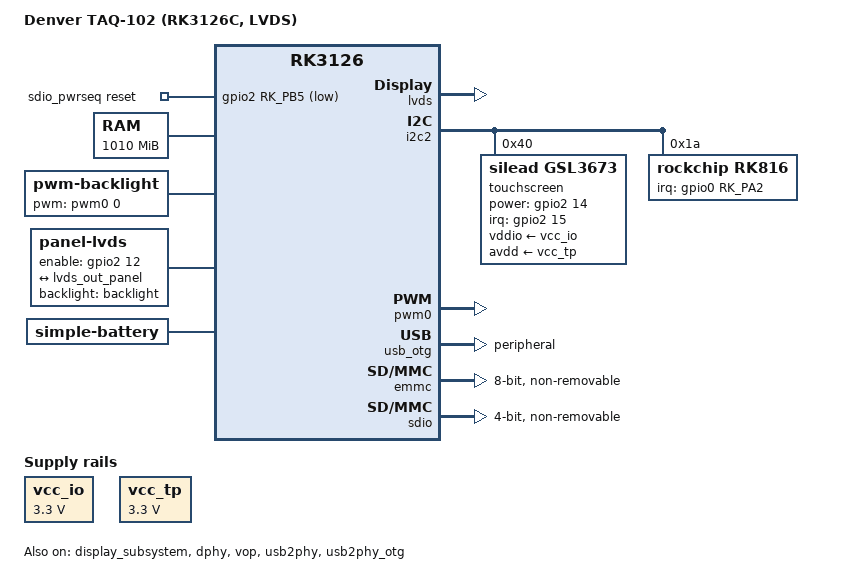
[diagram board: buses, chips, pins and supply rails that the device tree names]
// SPDX-License-Identifier: (GPL-2.0+ OR MIT)
/*
 * Denver TAQ-102 on mainline: RK3126C, 1 GB, LVDS 1024x600, GSL3673 touch.
 *
 * The vendor 4.4 board file is kernel/rk3126-taq102.dts and the tree the
 * tablet actually shipped with is kernel/rk3126-taq102-hybrid.dts. Every
 * number below was taken from one of those two, not from a sibling board:
 * the panel timing is the one modetest reports on the hardware, 1024x600 at
 * 56.14 Hz, and the backlight is the vendor's pwm0 at 25 us.
 *
 * rk3128.dtsi is the right base even though this is an RK3126C: its VOP is
 * already "rockchip,rk3126-vop" upstream. The LVDS node it gains here needs
 * the two patches in this directory.
 */

/dts-v1/;

#include <dt-bindings/gpio/gpio.h>
#include <dt-bindings/input/input.h>
#include <dt-bindings/interrupt-controller/irq.h>
#include "rk3128.dtsi"

/ {
	model = "Denver TAQ-102 (RK3126C, LVDS)";
	compatible = "rockchip,rk3126-taq102", "rockchip,rk3126";

	/*
	 * A crash log that survives the reboot, because this board has no console
	 * a failed boot can reach: no serial pads, and the USB gadget is raised by
	 * userspace the kernel never gets to. Deliberately NOT 0x68000000, which the vendor tree also uses for
	 * ramoops: the vendor kernel rewrites that region with its own boot log,
	 * which destroyed the first capture. 0x68100000 is above it and still
	 * inside the first bank, which ends at 0x68400000.
	 */
	reserved-memory {
		#address-cells = <1>;
		#size-cells = <1>;
		ranges;

		ramoops@68100000 {
			compatible = "ramoops";
			reg = <0x68100000 0xf0000>;
			record-size = <0x20000>;
			console-size = <0x80000>;
			pmsg-size = <0x50000>;
		};
	};

	aliases {
		mmc0 = &sdmmc;
		mmc1 = &emmc;
		mmc2 = &sdio;
	};

	/*
	 * The RTL8723CS needs its 32 kHz clock and its reset released before
	 * the SDIO function can be probed at all. Values from the tablet own
	 * stock tree: the clock is the PMIC clkout2, the reset is GPIO2_B5.
	 */
	sdio_pwrseq: sdio-pwrseq {
		compatible = "mmc-pwrseq-simple";
		clocks = <&rk816 1>;
		clock-names = "ext_clock";
		reset-gpios = <&gpio2 RK_PB5 GPIO_ACTIVE_LOW>;
	};

	/*
	 * Two banks with a 14 MB hole between them, not one contiguous gigabyte.
	 * Read off the running vendor kernel on this tablet: /proc/iomem shows
	 * 60000000-683fffff and 69200000-9fffffff, and its own device tree says
	 * reg = <0x60000000 0x08400000>, <0x69200000 0x36e00000>. Declaring the
	 * hole as memory kills the kernel during memblock init, long before any
	 * console exists, which is exactly the silent black boot this cost.
	 */
	memory@60000000 {
		device_type = "memory";
		reg = <0x60000000 0x08400000>,
		      <0x69200000 0x36e00000>;
	};

	/*
	 * The touch controller's two rails. Nothing on this board switches
	 * them: they are up before the kernel starts, the vendor node
	 * describes no supply at all, and the RK816 that really feeds them
	 * has no node in this file yet. They exist because silead.c takes
	 * both with a plain devm_regulator_bulk_get() and refuses to probe
	 * without them. Replace them with the real RK816 outputs when a PMIC
	 * node lands here.
	 */
	vcc_io: regulator-vcc-io {
		compatible = "regulator-fixed";
		regulator-name = "vcc_io";
		regulator-min-microvolt = <3300000>;
		regulator-max-microvolt = <3300000>;
		regulator-always-on;
		regulator-boot-on;
	};

	vcc_tp: regulator-vcc-tp {
		compatible = "regulator-fixed";
		regulator-name = "vcc_tp";
		regulator-min-microvolt = <3300000>;
		regulator-max-microvolt = <3300000>;
		regulator-always-on;
		regulator-boot-on;
	};

	backlight: backlight {
		compatible = "pwm-backlight";
		pwms = <&pwm0 0 25000 0>;
		brightness-levels = <0 255>;
		num-interpolated-steps = <255>;
		default-brightness-level = <128>;
	};

	panel: panel {
		compatible = "panel-lvds";
		backlight = <&backlight>;
		enable-gpios = <&gpio2 12 GPIO_ACTIVE_HIGH>;
		data-mapping = "jeida-24";
		width-mm = <125>;
		height-mm = <223>;

		panel-timing {
			clock-frequency = <51200000>;
			hactive = <1024>;
			vactive = <600>;
			hback-porch = <160>;
			hfront-porch = <160>;
			hsync-len = <70>;
			vback-porch = <23>;
			vfront-porch = <12>;
			vsync-len = <10>;
			hsync-active = <0>;
			vsync-active = <0>;
			de-active = <0>;
			pixelclk-active = <0>;
		};

		port {
			panel_in_lvds: endpoint {
				remote-endpoint = <&lvds_out_panel>;
			};
		};
	};
};

&display_subsystem {
	status = "okay";
};

&dphy {
	status = "okay";
};

&lvds {
	status = "okay";
};

&lvds_out {
	lvds_out_panel: endpoint {
		remote-endpoint = <&panel_in_lvds>;
	};
};

/*
 * GSL3673 capacitive touch, 0x40 on i2c2.
 *
 * i2c2, not i2c0: in the device tree the tablet actually runs
 * (kernel/rk3126-taq102-hybrid.dts, decompiled from the live DTB) ts@40 is a
 * child of i2c@2005a000, beside the RK816 at 0x1a and the accelerometer at
 * 0x18, and i2c@20072000 is enabled with no children at all. rk3128.dtsi
 * labels 0x2005a000 as i2c2, and so does the vendor rk312x.dtsi. The
 * hand-written kernel/rk3126-taq102.dts in this repository puts the node
 * under &i2c0; that file is a reconstruction and it is wrong on this point.
 *
 * No clock-frequency: the live node has none either, so the bus runs at the
 * 100 kHz default i2c_parse_fw_timings() supplies. The 400 kHz in the sibling
 * board's rk3126-bnd-d708.dtsi belongs to a different bus on a different
 * board. At 100 kHz the firmware upload -- 4719 single-word SMBus writes
 * where the vendor batched 32 words per transfer -- costs a few seconds once,
 * at probe.
 *
 *  - interrupts is EDGE_RISING, not the LEVEL_LOW the vendor node prints.
 *    gsl3673_init() reads irq_gpio_number only for the GPIO number and throws
 *    the flags away; probe then calls devm_request_irq() with
 *    IRQF_TRIGGER_RISING. Rising is the trigger this hardware was proved on.
 *
 *  - power-gpios is the vendor's rst_gpio_number, gpio2 14 active high.
 *    silead.c has no separate reset: silead_ts_set_power() drives this pin
 *    low to stop the chip and high to run it, then sleeps 20 ms, which is
 *    exactly gsl3673_shutdown_low()/_high() and their msleep(20).
 *
 *  - firmware-name resolves to /lib/firmware/silead/gsl3673.fw, produced by
 *    kernel/mainline/taq102-gsl3673-firmware.py from the GSL3673_FW array of
 *    the vendor header after kernel/patches/0005-* has replaced it with the
 *    tablet's own stock blob. The array the vendor tree ships untouched is
 *    another panel's.
 *
 *  - touchscreen-size-x/y are unmeasured. They are the resolution word of the
 *    stock configuration array, 0x02580400 = 600 << 16 | 1024, and the
 *    screen_max_x/y of the reconstructed vendor node. The vendor driver's own
 *    ABS range is no evidence: with CONFIG_TOUCHSCREEN_GSL3673 no TP_SIZE_*
 *    macro is defined, so it falls through to 2048x1536.
 */
&i2c2 {
	status = "okay";

	touchscreen@40 {
		compatible = "silead,gsl3673";
		reg = <0x40>;

		interrupt-parent = <&gpio2>;
		interrupts = <15 IRQ_TYPE_EDGE_RISING>;
		power-gpios = <&gpio2 14 GPIO_ACTIVE_HIGH>;

		vddio-supply = <&vcc_io>;
		avdd-supply = <&vcc_tp>;

		firmware-name = "gsl3673.fw";
		touchscreen-size-x = <1024>;
		touchscreen-size-y = <600>;
	};
};

&pwm0 {
	status = "okay";
};

&vop {
	status = "okay";
};

/* The ACM gadget is the only console this board has: no CONFIG_VT on the
 * stock kernel, and the UART2 pads have never been located. */
&usb_otg {
	dr_mode = "peripheral";
	status = "okay";
};

/*
 * The RK816 PMIC and the battery behind it.
 *
 * These two headers are re-included here rather than at the top of the file
 * so that this is one self-contained block; both carry include guards, so a
 * second include costs nothing.
 */
#include <dt-bindings/interrupt-controller/irq.h>
#include <dt-bindings/pinctrl/rockchip.h>

/*
 * The PMIC sits on i2c2 at 0x1a, beside the GSL3673 touch controller at 0x40
 * on the same bus; i2c0 is enabled with no children at all on this board.
 * Its interrupt is GPIO0_A2, active low.
 * Checked against the decompiled vendor DTB, where the same node reads
 * interrupts = <0x02 0x08>.
 *
 * The regulators are deliberately not described. Nothing here needs them,
 * and transcribing a rail constraint wrong is how a board stops booting;
 * the vendor's DCDC and LDO constraints are a separate change with its own
 * risk. "rockchip,system-power-controller" is left off for the same reason:
 * it changes what happens on poweroff.
 */
&i2c2 {
	status = "okay";

	rk816: pmic@1a {
		compatible = "rockchip,rk816";
		reg = <0x1a>;
		interrupt-parent = <&gpio0>;
		interrupts = <RK_PA2 IRQ_TYPE_LEVEL_LOW>;
		pinctrl-names = "default";
		pinctrl-0 = <&pmic_int_l>;
		#clock-cells = <1>;
		clock-output-names = "xin32k", "rk816-clkout2";
		gpio-controller;
		#gpio-cells = <2>;
		extcon = <&usb2phy>;
		wakeup-source;

		charger {
			monitored-battery = <&battery>;
			rockchip,resistor-sense-micro-ohms = <20000>;
			rockchip,sleep-enter-current-microamp = <300000>;
			rockchip,sleep-filter-current-microamp = <100000>;
			input-current-limit-microamp = <1600000>;
		};
	};
};

&pinctrl {
	pmic {
		pmic_int_l: pmic-int-l {
			rockchip,pins = <0 RK_PA2 RK_FUNC_GPIO &pcfg_pull_default>;
		};
	};
};

/*
 * The OTG PHY is disabled in rk3128.dtsi, so the ACM gadget above cannot
 * probe without this either. It is also what performs BC1.2 detection,
 * which is the only way the charger can tell a wall adapter from a 450 mA
 * port.
 */
&usb2phy {
	status = "okay";
};

&usb2phy_otg {
	status = "okay";
};

/ {
	/*
	 * Every number here comes from the battery node of the vendor board
	 * file, converted out of its hexadecimal millivolts and milliamp
	 * hours: design_capacity 0x10af, max_chrg_current 0x578,
	 * max_chrg_voltage 0x1068, max_input_current 0x640, bat_res 0x64,
	 * power_off_thresd 0xd7a, sleep_enter_current 0x12c,
	 * sleep_filter_current 0x64. The termination current is not in the
	 * vendor DTS at all: rk816_bat_finish_ma() derives 200 mA from a pack
	 * of 4000 mAh or more.
	 *
	 * The OCV table is the vendor's ocv_table read backwards, because the
	 * vendor lists 0 % first and the power supply core wants the highest
	 * voltage first. There is no thermistor on this board, so one table
	 * at 20 C is all there is.
	 */
	battery: battery {
		compatible = "simple-battery";
		charge-full-design-microamp-hours = <4271000>;
		charge-term-current-microamp = <200000>;
		constant-charge-current-max-microamp = <1400000>;
		constant-charge-voltage-max-microvolt = <4200000>;
		voltage-max-design-microvolt = <4200000>;
		voltage-min-design-microvolt = <3450000>;
		factory-internal-resistance-micro-ohms = <100000>;
		ocv-capacity-celsius = <20>;
		ocv-capacity-table-0 = <4200000 100>, <4139000 95>,
				       <4093000 90>, <4056000 85>,
				       <4005000 80>, <3975000 75>,
				       <3943000 70>, <3897000 65>,
				       <3858000 60>, <3836000 55>,
				       <3817000 50>, <3802000 45>,
				       <3789000 40>, <3777000 35>,
				       <3762000 30>, <3746000 25>,
				       <3731000 20>, <3706000 15>,
				       <3686000 10>, <3671000 5>,
				       <3450000 0>;
	};
};

/*
 * Storage and SDIO. Without the eMMC there is no /data, so no settings and no
 * wifi.conf; without the SDIO there is no wlan0 whatever rtw88 is built with.
 * Every capability below is the one the stock tree sets for this board.
 * The SD slot is left disabled on purpose: nothing here uses it, and it would
 * only add a controller that can fail to probe.
 */
&emmc {
	bus-width = <8>;
	cap-mmc-highspeed;
	disable-wp;
	non-removable;
	pinctrl-names = "default";
	pinctrl-0 = <&emmc_clk &emmc_cmd &emmc_bus8>;
	status = "okay";
};

&sdio {
	bus-width = <4>;
	cap-sd-highspeed;
	keep-power-in-suspend;
	max-frequency = <50000000>;
	mmc-pwrseq = <&sdio_pwrseq>;
	non-removable;
	pinctrl-names = "default";
	pinctrl-0 = <&sdio_clk &sdio_cmd &sdio_bus4>;
	status = "okay";
};
